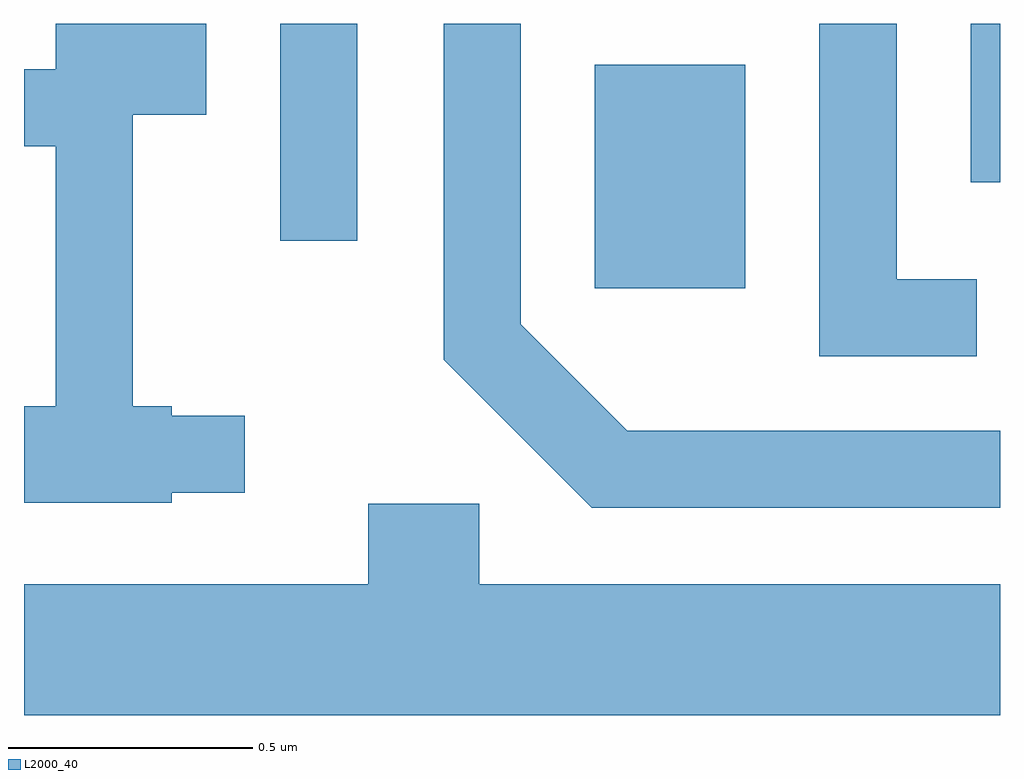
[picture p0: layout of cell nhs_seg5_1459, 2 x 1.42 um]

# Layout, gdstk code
import gdstk
lib = gdstk.Library(unit=1e-6, precision=1e-09)
def R(c, l, rs):  # rectangles x0, y0, x1, y1
    for r in rs: c.add(gdstk.rectangle(r[:2], r[2:], *l))
def P(c, l, *ps):  # polygons
    for p in ps: c.add(gdstk.Polygon(p, *l))
L2000_40 = (2000, 40)

nhs_seg5_1459 = lib.new_cell('nhs_seg5_1459')
R(nhs_seg5_1459, L2000_40, [(196.781,1486.531,197.089,1486.989), (196.136,1486.628,196.294,1487.072), (197.551,1486.748,197.611,1487.072)])
P(nhs_seg5_1459, L2000_40, [(195.914,1486.111),(196.063,1486.111),(196.063,1486.269),(195.914,1486.269),(195.914,1486.289),(195.834,1486.289),(195.834,1486.886),(195.984,1486.886),(195.984,1487.072),(195.676,1487.072),(195.676,1486.979),(195.611,1486.979),(195.611,1486.821),(195.676,1486.821),(195.676,1486.289),(195.611,1486.289),(195.611,1486.091),(195.914,1486.091)],
  [(197.611,1486.239),(196.847,1486.239),(196.629,1486.457),(196.629,1487.072),(196.471,1487.072),(196.471,1486.384),(196.774,1486.081),(197.611,1486.081)],
  [(197.563,1486.549),(197.399,1486.549),(197.399,1487.072),(197.241,1487.072),(197.241,1486.391),(197.563,1486.391)],
  [(197.611,1485.924),(196.544,1485.924),(196.544,1486.089),(196.316,1486.089),(196.316,1485.924),(195.611,1485.924),(195.611,1485.656),(197.611,1485.656)])

lib.write_gds('nhs_seg5_1459.gds')
